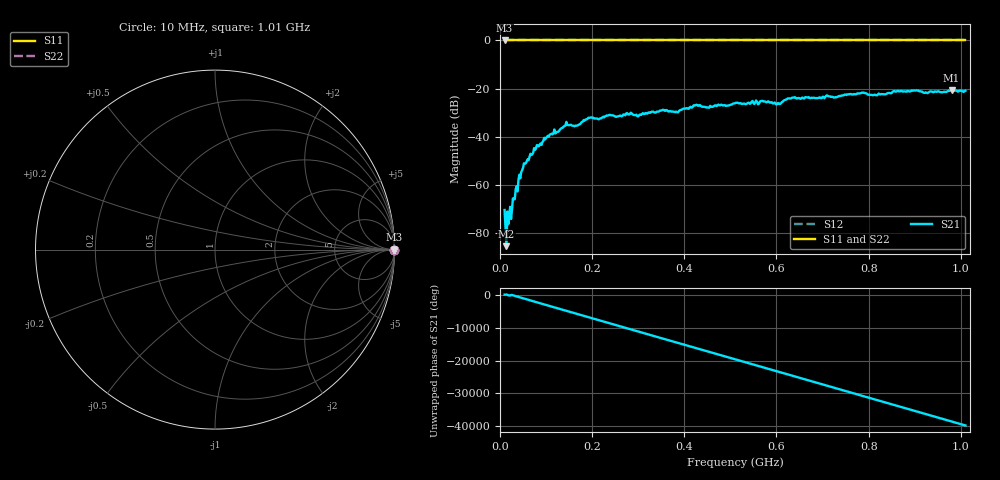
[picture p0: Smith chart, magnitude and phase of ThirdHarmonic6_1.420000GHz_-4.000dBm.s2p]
! 8/16/2025 4:19:11 PM
! C:\ANRITSUVNA\TEMP\TEMP.S2P
! CHANNEL.1
! TR.MEASUREMENT
! RAW.DATA
! RF.CORRECTION.OFF
! AVERAGING.OFF
! IF.BANDWIDTH: 5KHZ
! SWEEPTYPE:  FREQ.SWEEP(Linear)
! Reference Plane Port Info
! PORT:  PORT1  PORT2
! DISTANCE:  0  m  0  m
! TIME:  0  s  0  s
! PHASE.OFFSET:  0  deg.  0  deg.
! LOSS:  0  dB  0  dB
! REF.LOSS:  0  dB  0  dB
! REF.FREQ:  0  Hz  0  Hz
! Power Info
! POWER:  -20  dBm  -20  dBm
! EFF.POWER:  -20  dBm  -20  dBm
! SOURCE.ATTEN:  0  dB  0  dB
! TEST.ATTEN:  0  dB  0  dB
# GHZ S RI R 50.0
! FREQ.GHZ  S11RE  S11IM  S21RE  S21IM  S12RE  S12IM  S22RE  S22IM
!; PortSelection: Port_12
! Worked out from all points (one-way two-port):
!   501 points, 10 MHz to 1.01 GHz, reference 50 ohm
!   highest |S21| = -20.62 dB at 980 MHz (marker M1); lowest = -85.6 dB at 14 MHz (marker M2)
!   lowest |S11| = 0.0 dB at 10 MHz (marker M3)
!   |S11| at or under -10 dB: nowhere
!   |S22| runs from 0.0 to 0.0 dB; largest |S21 - S12| = 1.1
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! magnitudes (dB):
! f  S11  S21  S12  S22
! 10 MHz  0.0  -70.6  0.0  0.0
! 14 MHz  0.0  -85.6  0.0  0.0
! 16 MHz  0.0  -71.2  0.0  0.0
! 22 MHz  0.0  -69.2  0.0  0.0
! 32 MHz  0.0  -66.1  0.0  0.0
! 50 MHz  0.0  -53.0  0.0  0.0
! 78 MHz  0.0  -45.0  0.0  0.0
! 142 MHz  0.0  -35.5  0.0  0.0
! 166 MHz  0.0  -35.5  0.0  0.0
! 178 MHz  0.0  -33.9  0.0  0.0
! 196 MHz  0.0  -32.1  0.0  0.0
! 344 MHz  0.0  -29.6  0.0  0.0
! 382 MHz  0.0  -29.6  0.0  0.0
! 424 MHz  0.0  -27.1  0.0  0.0
! 450 MHz  0.0  -27.8  0.0  0.0
! 510 MHz  0.0  -26.1  0.0  0.0
! 604 MHz  0.0  -26.1  0.0  0.0
! 636 MHz  0.0  -23.8  0.0  0.0
! 678 MHz  0.0  -23.9  0.0  0.0
! 844 MHz  0.0  -21.8  0.0  0.0
! 980 MHz  0.0  -20.6  0.0  0.0
! 1.01 GHz  0.0  -20.9  0.0  0.0
